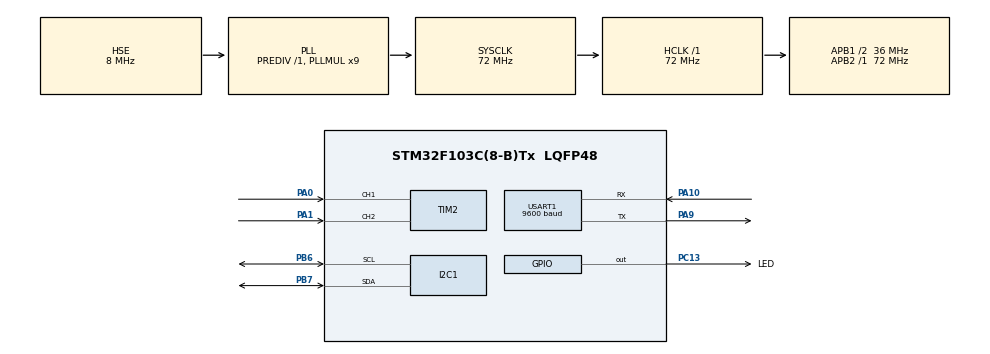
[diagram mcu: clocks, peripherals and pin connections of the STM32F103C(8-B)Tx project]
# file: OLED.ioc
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I2C1.I2C_Mode=I2C_Fast
Mcu.Family=STM32F1
Mcu.Name=STM32F103C(8-B)Tx
Mcu.Package=LQFP48
NVIC.PriorityGroup=NVIC_PRIORITYGROUP_4
NVIC.TIM2_IRQn=true\:0\:0\:false\:false\:true\:true\:true\:true
NVIC.TIM3_IRQn=true\:0\:0\:false\:false\:true\:true\:true\:true
PA0-WKUP.Signal=S_TIM2_CH1_ETR
PA1.Signal=S_TIM2_CH2
PA10.Mode=Asynchronous
PA10.Signal=USART1_RX
PA13.Mode=Serial_Wire
PA13.Signal=SYS_JTMS-SWDIO
PA14.Mode=Serial_Wire
PA14.Signal=SYS_JTCK-SWCLK
PA9.Mode=Asynchronous
PA9.Signal=USART1_TX
PB6.GPIO_Pu=GPIO_PULLUP
PB6.Mode=I2C
PB6.Signal=I2C1_SCL
PB7.GPIO_Pu=GPIO_PULLUP
PB7.Mode=I2C
PB7.Signal=I2C1_SDA
PC13-TAMPER-RTC.GPIO_Label=LED
PC13-TAMPER-RTC.Signal=GPIO_Output
PD0-OSC_IN.Mode=HSE-External-Oscillator
PD0-OSC_IN.Signal=RCC_OSC_IN
PD1-OSC_OUT.Mode=HSE-External-Oscillator
PD1-OSC_OUT.Signal=RCC_OSC_OUT
ProjectManager.HeapSize=0x200
ProjectManager.StackSize=0x400
ProjectManager.TargetToolchain=STM32CubeIDE
RCC.AHBFreq_Value=72000000
RCC.APB1CLKDivider=RCC_HCLK_DIV2
RCC.APB1Freq_Value=36000000
RCC.APB1TimFreq_Value=72000000
RCC.APB2Freq_Value=72000000
RCC.APB2TimFreq_Value=72000000
RCC.HCLKFreq_Value=72000000
RCC.PLLMUL=RCC_PLL_MUL9
RCC.PLLSourceVirtual=RCC_PLLSOURCE_HSE
RCC.SYSCLKFreq_VALUE=72000000
RCC.SYSCLKSource=RCC_SYSCLKSOURCE_PLLCLK
RCC.USBFreq_Value=72000000
SH.S_TIM2_CH1_ETR.0=TIM2_CH1,Encoder_Interface
SH.S_TIM2_CH2.0=TIM2_CH2,Encoder_Interface
TIM2.AutoReloadPreload=TIM_AUTORELOAD_PRELOAD_ENABLE
TIM2.EncoderMode=TIM_ENCODERMODE_TI12
TIM2.IC1Filter=10
TIM2.IC2Filter=10
TIM3.AutoReloadPreload=TIM_AUTORELOAD_PRELOAD_ENABLE
TIM3.Period=999
TIM3.Prescaler=3599
USART1.BaudRate=9600
USART1.VirtualMode=VM_ASYNC
VP_TIM3_VS_ClockSourceINT.Mode=Internal
board=custom

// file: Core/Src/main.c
/* USER CODE BEGIN Header */
/**
 ******************************************************************************
 * @file           : main.c
 * @brief          : Main program body
 ******************************************************************************
 * @attention
 *
 * <h2><center>&copy; Copyright (c) 2023 STMicroelectronics.
 * All rights reserved.</center></h2>
 *
 * This software component is licensed by ST under BSD 3-Clause license,
 * the "License"; You may not use this file except in compliance with the
 * License. You may obtain a copy of the License at:
 *                        opensource.org/licenses/BSD-3-Clause
 *
 ******************************************************************************
 */
/* USER CODE END Header */
#include "main.h"

/* USER CODE BEGIN Includes */
#include "fonts.h"
#include "ssd1306.h"
#include "test.h"
#include "bitmap.h"
#include "horse_anim.h"
#include "1.h"
#include "2.h"
#include "3.h"
#include "4.h"
#include "5.h"
#include "6.h"
#include "7.h"
#include "8.h"
#include "9.h"
/* USER CODE END Includes */

I2C_HandleTypeDef hi2c1;

TIM_HandleTypeDef htim2;
TIM_HandleTypeDef htim3;

UART_HandleTypeDef huart1;

void SystemClock_Config(void);
static void MX_GPIO_Init(void);
static void MX_I2C1_Init(void);
static void MX_TIM2_Init(void);
static void MX_USART1_UART_Init(void);
static void MX_TIM3_Init(void);
/* USER CODE BEGIN PFP */
int8_t value = 0;
uint8_t message_send[50];
/* USER CODE END PFP */

/* USER CODE BEGIN 0 */
void HAL_TIM_PeriodElapsedCallback(TIM_HandleTypeDef *htim) {
	if (htim->Instance == htim3.Instance) {
		HAL_GPIO_TogglePin(LED_GPIO_Port, LED_Pin);
	}
}
void horse_run(int8_t x) {
	SSD1306_InvertDisplay(0);   // invert the display

	SSD1306_Clear();
	SSD1306_DrawBitmap(x, 0, horse1, 128, 64, 1);
	SSD1306_UpdateScreen();

	SSD1306_Clear();
	SSD1306_DrawBitmap(x, 0, horse2, 128, 64, 1);
	SSD1306_UpdateScreen();

	SSD1306_Clear();
	SSD1306_DrawBitmap(x, 0, horse3, 128, 64, 1);
	SSD1306_UpdateScreen();

	SSD1306_Clear();
	SSD1306_DrawBitmap(x, 0, horse4, 128, 64, 1);
	SSD1306_UpdateScreen();

	SSD1306_Clear();
	SSD1306_DrawBitmap(x, 0, horse5, 128, 64, 1);
	SSD1306_UpdateScreen();

	SSD1306_Clear();
	SSD1306_DrawBitmap(x, 0, horse6, 128, 64, 1);
	SSD1306_UpdateScreen();

	SSD1306_Clear();
	SSD1306_DrawBitmap(x, 0, horse7, 128, 64, 1);
	SSD1306_UpdateScreen();

	SSD1306_Clear();
	SSD1306_DrawBitmap(x, 0, horse8, 128, 64, 1);
	SSD1306_UpdateScreen();

	SSD1306_Clear();
	SSD1306_DrawBitmap(x, 0, horse9, 128, 64, 1);
	SSD1306_UpdateScreen();

	SSD1306_Clear();
	SSD1306_DrawBitmap(x, 0, horse10, 128, 64, 1);
	SSD1306_UpdateScreen();
}
/* USER CODE END 0 */

int main(void)
{

  /* MCU Configuration--------------------------------------------------------*/

  /* Reset of all peripherals, Initializes the Flash interface and the Systick. */
  HAL_Init();

  /* Configure the system clock */
  SystemClock_Config();

  /* Initialize all configured peripherals */
  MX_GPIO_Init();
  MX_I2C1_Init();
  MX_TIM2_Init();
  MX_USART1_UART_Init();
  MX_TIM3_Init();
  /* USER CODE BEGIN 2 */
	SSD1306_Init();
	HAL_TIM_Base_Start_IT(&htim3);
	HAL_TIM_Encoder_Start(&htim2, TIM_CHANNEL_ALL);

  /* USER CODE END 2 */

  /* Infinite loop */
  /* USER CODE BEGIN WHILE */
	while (1) {
//		value = __HAL_TIM_GetCounter(&htim2);
//		if (value > 128) {
//			//TIM2->CNT = 10;
//			__HAL_TIM_SetCounter(&htim2, 128);
//		}
//		if (value < -128) {
//			__HAL_TIM_SetCounter(&htim2, -128);
//			//TIM2->CNT = 0;
//		}
//		sprintf(message_send, "value x = %d\r\n", value);
//		HAL_UART_Transmit(&huart1, message_send, sizeof(message_send), 100);
		for (value = 128; value >= -128; value -= 5) {
			horse_run(value);
			//HAL_Delay(100);
		}
		//HAL_Delay(10);
    /* USER CODE END WHILE */

	}
}

void SystemClock_Config(void)
{
  RCC_OscInitTypeDef RCC_OscInitStruct = {0};
  RCC_ClkInitTypeDef RCC_ClkInitStruct = {0};

  /** Initializes the RCC Oscillators according to the specified parameters
  * in the RCC_OscInitTypeDef structure.
  */
  RCC_OscInitStruct.OscillatorType = RCC_OSCILLATORTYPE_HSE;
  RCC_OscInitStruct.HSEState = RCC_HSE_ON;
  RCC_OscInitStruct.HSEPredivValue = RCC_HSE_PREDIV_DIV1;
  RCC_OscInitStruct.HSIState = RCC_HSI_ON;
  RCC_OscInitStruct.PLL.PLLState = RCC_PLL_ON;
  RCC_OscInitStruct.PLL.PLLSource = RCC_PLLSOURCE_HSE;
  RCC_OscInitStruct.PLL.PLLMUL = RCC_PLL_MUL9;
  if (HAL_RCC_OscConfig(&RCC_OscInitStruct) != HAL_OK)
  {
    Error_Handler();
  }

  /** Initializes the CPU, AHB and APB buses clocks
  */
  RCC_ClkInitStruct.ClockType = RCC_CLOCKTYPE_HCLK|RCC_CLOCKTYPE_SYSCLK
                              |RCC_CLOCKTYPE_PCLK1|RCC_CLOCKTYPE_PCLK2;
  RCC_ClkInitStruct.SYSCLKSource = RCC_SYSCLKSOURCE_PLLCLK;
  RCC_ClkInitStruct.AHBCLKDivider = RCC_SYSCLK_DIV1;
  RCC_ClkInitStruct.APB1CLKDivider = RCC_HCLK_DIV2;
  RCC_ClkInitStruct.APB2CLKDivider = RCC_HCLK_DIV1;

  if (HAL_RCC_ClockConfig(&RCC_ClkInitStruct, FLASH_LATENCY_2) != HAL_OK)
  {
    Error_Handler();
  }
}

static void MX_I2C1_Init(void)
{

  hi2c1.Instance = I2C1;
  hi2c1.Init.ClockSpeed = 400000;
  hi2c1.Init.DutyCycle = I2C_DUTYCYCLE_2;
  hi2c1.Init.OwnAddress1 = 0;
  hi2c1.Init.AddressingMode = I2C_ADDRESSINGMODE_7BIT;
  hi2c1.Init.DualAddressMode = I2C_DUALADDRESS_DISABLE;
  hi2c1.Init.OwnAddress2 = 0;
  hi2c1.Init.GeneralCallMode = I2C_GENERALCALL_DISABLE;
  hi2c1.Init.NoStretchMode = I2C_NOSTRETCH_DISABLE;
  if (HAL_I2C_Init(&hi2c1) != HAL_OK)
  {
    Error_Handler();
  }

}

static void MX_TIM2_Init(void)
{

  TIM_Encoder_InitTypeDef sConfig = {0};
  TIM_MasterConfigTypeDef sMasterConfig = {0};

  htim2.Instance = TIM2;
  htim2.Init.Prescaler = 0;
  htim2.Init.CounterMode = TIM_COUNTERMODE_UP;
  htim2.Init.Period = 65535;
  htim2.Init.ClockDivision = TIM_CLOCKDIVISION_DIV1;
  htim2.Init.AutoReloadPreload = TIM_AUTORELOAD_PRELOAD_ENABLE;
  sConfig.EncoderMode = TIM_ENCODERMODE_TI12;
  sConfig.IC1Polarity = TIM_ICPOLARITY_RISING;
  sConfig.IC1Selection = TIM_ICSELECTION_DIRECTTI;
  sConfig.IC1Prescaler = TIM_ICPSC_DIV1;
  sConfig.IC1Filter = 10;
  sConfig.IC2Polarity = TIM_ICPOLARITY_RISING;
  sConfig.IC2Selection = TIM_ICSELECTION_DIRECTTI;
  sConfig.IC2Prescaler = TIM_ICPSC_DIV1;
  sConfig.IC2Filter = 10;
  if (HAL_TIM_Encoder_Init(&htim2, &sConfig) != HAL_OK)
  {
    Error_Handler();
  }
  sMasterConfig.MasterOutputTrigger = TIM_TRGO_RESET;
  sMasterConfig.MasterSlaveMode = TIM_MASTERSLAVEMODE_DISABLE;
  if (HAL_TIMEx_MasterConfigSynchronization(&htim2, &sMasterConfig) != HAL_OK)
  {
    Error_Handler();
  }

}

static void MX_TIM3_Init(void)
{

  TIM_ClockConfigTypeDef sClockSourceConfig = {0};
  TIM_MasterConfigTypeDef sMasterConfig = {0};

  htim3.Instance = TIM3;
  htim3.Init.Prescaler = 3599;
  htim3.Init.CounterMode = TIM_COUNTERMODE_UP;
  htim3.Init.Period = 999;
  htim3.Init.ClockDivision = TIM_CLOCKDIVISION_DIV1;
  htim3.Init.AutoReloadPreload = TIM_AUTORELOAD_PRELOAD_ENABLE;
  if (HAL_TIM_Base_Init(&htim3) != HAL_OK)
  {
    Error_Handler();
  }
  sClockSourceConfig.ClockSource = TIM_CLOCKSOURCE_INTERNAL;
  if (HAL_TIM_ConfigClockSource(&htim3, &sClockSourceConfig) != HAL_OK)
  {
    Error_Handler();
  }
  sMasterConfig.MasterOutputTrigger = TIM_TRGO_RESET;
  sMasterConfig.MasterSlaveMode = TIM_MASTERSLAVEMODE_DISABLE;
  if (HAL_TIMEx_MasterConfigSynchronization(&htim3, &sMasterConfig) != HAL_OK)
  {
    Error_Handler();
  }

}

static void MX_USART1_UART_Init(void)
{

  huart1.Instance = USART1;
  huart1.Init.BaudRate = 9600;
  huart1.Init.WordLength = UART_WORDLENGTH_8B;
  huart1.Init.StopBits = UART_STOPBITS_1;
  huart1.Init.Parity = UART_PARITY_NONE;
  huart1.Init.Mode = UART_MODE_TX_RX;
  huart1.Init.HwFlowCtl = UART_HWCONTROL_NONE;
  huart1.Init.OverSampling = UART_OVERSAMPLING_16;
  if (HAL_UART_Init(&huart1) != HAL_OK)
  {
    Error_Handler();
  }

}

static void MX_GPIO_Init(void)
{
  GPIO_InitTypeDef GPIO_InitStruct = {0};

  /* GPIO Ports Clock Enable */
  __HAL_RCC_GPIOC_CLK_ENABLE();
  __HAL_RCC_GPIOD_CLK_ENABLE();
  __HAL_RCC_GPIOA_CLK_ENABLE();
  __HAL_RCC_GPIOB_CLK_ENABLE();

  /*Configure GPIO pin Output Level */
  HAL_GPIO_WritePin(LED_GPIO_Port, LED_Pin, GPIO_PIN_RESET);

  /*Configure GPIO pin : LED_Pin */
  GPIO_InitStruct.Pin = LED_Pin;
  GPIO_InitStruct.Mode = GPIO_MODE_OUTPUT_PP;
  GPIO_InitStruct.Pull = GPIO_NOPULL;
  GPIO_InitStruct.Speed = GPIO_SPEED_FREQ_LOW;
  HAL_GPIO_Init(LED_GPIO_Port, &GPIO_InitStruct);

}

void Error_Handler(void)
{
	__disable_irq();
	while (1) {
	}
}
